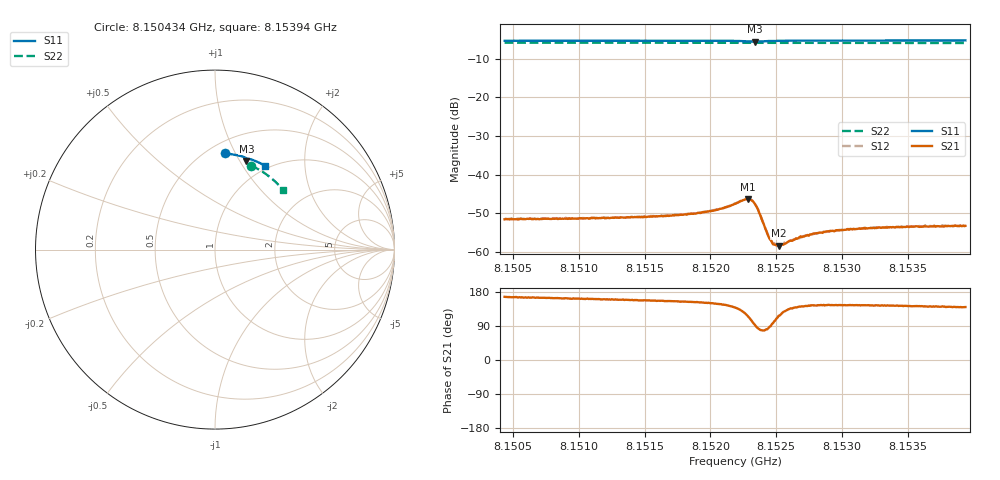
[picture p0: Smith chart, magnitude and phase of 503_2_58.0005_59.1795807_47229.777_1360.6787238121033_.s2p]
#  HZ  S  RI  R  50.00
! Rohde & Schwarz Vector Network Analyzer
! Rohde-Schwarz,ZNB20-2Port,1311601062101988,3.16
! Created: UTC 3/21/2024, 1:12:52 AM
! freq[Hz]  re:S11  im:S11  re:S21  im:S21  re:S12  im:S12  re:S22  im:S22
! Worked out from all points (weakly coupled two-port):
!   401 points, 8.150434 GHz to 8.15394 GHz, reference 50 ohm
!   highest |S21| = -46.30 dB at 8.152284 GHz (marker M1); lowest = -58.4 dB at 8.15252 GHz (marker M2)
!   lowest |S11| = -5.6 dB at 8.152336 GHz (marker M3), VSWR 3.20, Z = 39.2 + j53.4 ohm
!   |S11| at or under -10 dB: nowhere
!   |S22| runs from -5.9 to -5.9 dB; largest |S21 - S12| = 0.00011
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8.1504341e9  0.053 0.5361  -0.00257 0.000608  -0.00262 0.000671  0.2019 0.4679
8.1510214e9  0.0937 0.5315  -0.0026 0.000835  -0.00258 0.000919  0.2356 0.451
8.1516086e9  0.1343 0.5235  -0.00266 0.00115  -0.00266 0.00121  0.2677 0.4317
8.1519154e9  0.1562 0.5174  -0.00283 0.0015  -0.00283 0.00154  0.2838 0.4206
8.1520382e9  0.1654 0.5141  -0.00299 0.0018  -0.00298 0.00187  0.2903 0.416
8.152117e9  0.1716 0.5109  -0.00312 0.00217  -0.00305 0.00222  0.2944 0.413
8.1521872e9  0.1771 0.5069  -0.00315 0.00276  -0.00317 0.00283  0.2978 0.4101
8.1522485e9  0.1807 0.501  -0.00283 0.00372  -0.00283 0.00376  0.3009 0.4076
8.1522836e9  0.1804 0.4966  -0.00213 0.00434  -0.00209 0.0044  0.3025 0.4062
8.1523099e9  0.178 0.4942  -0.00125 0.00452  -0.00121 0.00456  0.3036 0.4051
8.1523362e9  0.1749 0.4942  -0.000273 0.00423  -0.0002 0.0043  0.3048 0.4043
8.1523625e9  0.1728 0.4966  0.000403 0.00351  0.000406 0.00353  0.3059 0.4034
8.1524326e9  0.1762 0.5037  0.000274 0.00171  0.000301 0.00174  0.3095 0.4008
8.1524589e9  0.179 0.5048  2.1e-05 0.00143  -4.09e-07 0.00144  0.3109 0.4
8.1524852e9  0.1816 0.5054  -0.00025 0.00122  -0.000284 0.00127  0.3124 0.3989
8.1525202e9  0.1851 0.5056  -0.000547 0.00107  -0.00054 0.00111  0.314 0.3973
8.1526517e9  0.1963 0.5037  -0.00113 0.000985  -0.00112 0.00099  0.3205 0.392
8.1527744e9  0.2055 0.501  -0.00138 0.000991  -0.00136 0.00102  0.3263 0.3868
8.1528972e9  0.2142 0.4978  -0.00152 0.00104  -0.0015 0.00109  0.3321 0.3816
8.1530549e9  0.2248 0.4937  -0.0016 0.00111  -0.00161 0.00113  0.3395 0.375
8.1533617e9  0.2446 0.4849  -0.00167 0.00124  -0.00167 0.00126  0.3532 0.3612
8.1539402e9  0.2803 0.4662  -0.00166 0.00141  -0.00164 0.00148  0.3778 0.3343
